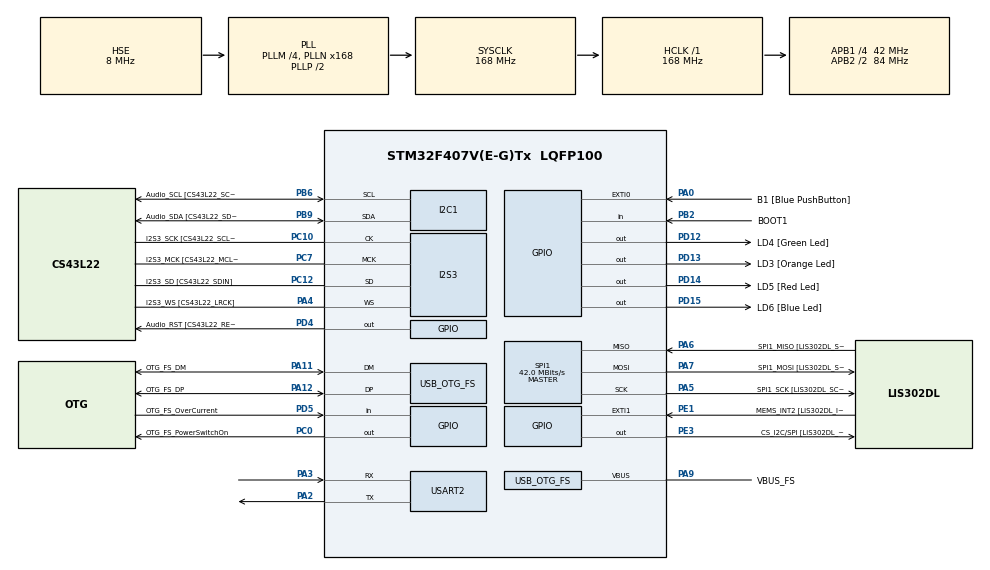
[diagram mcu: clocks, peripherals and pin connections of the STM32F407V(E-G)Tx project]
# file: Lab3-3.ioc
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I2S3.AudioFreq=I2S_AUDIOFREQ_96K
I2S3.AudioFreq-Half_Duplex_Master=I2S_AUDIOFREQ_96K
I2S3.ErrorAudioFreq=- %
I2S3.ErrorAudioFreq-Half_Duplex_Master=0.8 %
I2S3.FullDuplexMode=I2S_FULLDUPLEXMODE_DISABLE
I2S3.Instance=SPI$Index
I2S3.RealAudioFreq=- Hz
I2S3.RealAudioFreq-Half_Duplex_Master=96.774 KHz
I2S3.VirtualMode=I2S_MODE_MASTER
Mcu.Family=STM32F4
Mcu.Name=STM32F407V(E-G)Tx
Mcu.Package=LQFP100
NVIC.OTG_FS_IRQn=true\:0\:0\:false\:false\:true\:true\:true
NVIC.PriorityGroup=NVIC_PRIORITYGROUP_0
NVIC.TIM1_UP_TIM10_IRQn=true\:0\:0\:false\:false\:true\:true\:true
NVIC.TIM6_DAC_IRQn=true\:0\:0\:false\:false\:true\:true\:true
NVIC.TIM7_IRQn=true\:0\:0\:false\:false\:true\:true\:true
PA0-WKUP.GPIO_Label=B1 [Blue PushButton]
PA0-WKUP.GPIO_ModeDefaultEXTI=GPIO_MODE_EVT_RISING
PA0-WKUP.GPIO_PuPd=GPIO_NOPULL
PA0-WKUP.Signal=GPXTI0
PA10.GPIO_Label=OTG_FS_ID
PA10.GPIO_Mode=GPIO_MODE_AF_PP
PA10.GPIO_PuPd=GPIO_NOPULL
PA10.GPIO_Speed=GPIO_SPEED_FREQ_LOW
PA10.Signal=USB_OTG_FS_ID
PA11.GPIO_Label=OTG_FS_DM
PA11.GPIO_Mode=GPIO_MODE_AF_PP
PA11.GPIO_PuPd=GPIO_NOPULL
PA11.GPIO_Speed=GPIO_SPEED_FREQ_LOW
PA11.Mode=Host_Only
PA11.Signal=USB_OTG_FS_DM
PA12.GPIO_Label=OTG_FS_DP
PA12.GPIO_Mode=GPIO_MODE_AF_PP
PA12.GPIO_PuPd=GPIO_NOPULL
PA12.GPIO_Speed=GPIO_SPEED_FREQ_LOW
PA12.Mode=Host_Only
PA12.Signal=USB_OTG_FS_DP
PA13.GPIO_Label=SWDIO
PA13.Mode=Serial_Wire
PA13.Signal=SYS_JTMS-SWDIO
PA14.GPIO_Label=SWCLK
PA14.Mode=Serial_Wire
PA14.Signal=SYS_JTCK-SWCLK
PA2.Mode=Asynchronous
PA2.Signal=USART2_TX
PA3.Mode=Asynchronous
PA3.Signal=USART2_RX
PA4.GPIO_Label=I2S3_WS [CS43L22_LRCK]
PA4.GPIO_Mode=GPIO_MODE_AF_PP
PA4.GPIO_PuPd=GPIO_NOPULL
PA4.GPIO_Speed=GPIO_SPEED_FREQ_LOW
PA4.Mode=Half_Duplex_Master
PA4.Signal=I2S3_WS
PA5.GPIO_Label=SPI1_SCK [LIS302DL_SCL/SPC]
PA5.GPIO_Mode=GPIO_MODE_AF_PP
PA5.GPIO_PuPd=GPIO_NOPULL
PA5.GPIO_Speed=GPIO_SPEED_FREQ_LOW
PA5.Mode=Full_Duplex_Master
PA5.Signal=SPI1_SCK
PA6.GPIO_Label=SPI1_MISO [LIS302DL_SDO]
PA6.GPIO_Mode=GPIO_MODE_AF_PP
PA6.GPIO_PuPd=GPIO_NOPULL
PA6.GPIO_Speed=GPIO_SPEED_FREQ_LOW
PA6.Mode=Full_Duplex_Master
PA6.Signal=SPI1_MISO
PA7.GPIO_Label=SPI1_MOSI [LIS302DL_SDA/SDI/SDO]
PA7.GPIO_Mode=GPIO_MODE_AF_PP
PA7.GPIO_PuPd=GPIO_NOPULL
PA7.GPIO_Speed=GPIO_SPEED_FREQ_LOW
PA7.Mode=Full_Duplex_Master
PA7.Signal=SPI1_MOSI
PA9.GPIO_Label=VBUS_FS
PA9.GPIO_Mode=GPIO_MODE_INPUT
PA9.GPIO_PuPd=GPIO_NOPULL
PA9.Mode=Activate_VBUS
PA9.Signal=USB_OTG_FS_VBUS
PB10.GPIO_Label=CLK_IN [MP45DT02_CLK]
PB10.GPIO_Mode=GPIO_MODE_AF_PP
PB10.GPIO_PuPd=GPIO_NOPULL
PB10.GPIO_Speed=GPIO_SPEED_FREQ_LOW
PB10.Signal=I2S2_CK
PB2.GPIO_Label=BOOT1
PB2.GPIO_Mode=GPIO_MODE_INPUT
PB2.GPIO_PuPd=GPIO_NOPULL
PB2.Signal=GPIO_Input
PB3.GPIO_Label=SWO
PB3.Signal=SYS_JTDO-SWO
PB6.GPIO_Label=Audio_SCL [CS43L22_SCL]
PB6.GPIO_Mode=GPIO_MODE_AF_OD
PB6.GPIO_PuPd=GPIO_NOPULL
PB6.GPIO_Speed=GPIO_SPEED_FREQ_LOW
PB6.Mode=I2C
PB6.Signal=I2C1_SCL
PB9.GPIO_Label=Audio_SDA [CS43L22_SDA]
PB9.GPIO_Mode=GPIO_MODE_AF_OD
PB9.GPIO_PuPd=GPIO_NOPULL
PB9.GPIO_Speed=GPIO_SPEED_FREQ_LOW
PB9.Mode=I2C
PB9.Signal=I2C1_SDA
PC0.GPIO_Label=OTG_FS_PowerSwitchOn
PC0.GPIO_PuPd=GPIO_NOPULL
PC0.GPIO_Speed=GPIO_SPEED_FREQ_LOW
PC0.PinState=GPIO_PIN_SET
PC0.Signal=GPIO_Output
PC10.GPIO_Label=I2S3_SCK [CS43L22_SCLK]
PC10.GPIO_Mode=GPIO_MODE_AF_PP
PC10.GPIO_PuPd=GPIO_NOPULL
PC10.GPIO_Speed=GPIO_SPEED_FREQ_LOW
PC10.Mode=Half_Duplex_Master
PC10.Signal=I2S3_CK
PC12.GPIO_Label=I2S3_SD [CS43L22_SDIN]
PC12.GPIO_Mode=GPIO_MODE_AF_PP
PC12.GPIO_PuPd=GPIO_NOPULL
PC12.GPIO_Speed=GPIO_SPEED_FREQ_LOW
PC12.Mode=Half_Duplex_Master
PC12.Signal=I2S3_SD
PC14-OSC32_IN.GPIO_Label=PC14-OSC32_IN
PC14-OSC32_IN.Mode=LSE-External-Oscillator
PC14-OSC32_IN.Signal=RCC_OSC32_IN
PC15-OSC32_OUT.GPIO_Label=PC15-OSC32_OUT
PC15-OSC32_OUT.Mode=LSE-External-Oscillator
PC15-OSC32_OUT.Signal=RCC_OSC32_OUT
PC3.GPIO_Label=PDM_OUT [MP45DT02_DOUT]
PC3.GPIO_Mode=GPIO_MODE_AF_PP
PC3.GPIO_PuPd=GPIO_NOPULL
PC3.GPIO_Speed=GPIO_SPEED_FREQ_LOW
PC3.Signal=I2S2_SD
PC7.GPIO_Label=I2S3_MCK [CS43L22_MCLK]
PC7.GPIO_Mode=GPIO_MODE_AF_PP
PC7.GPIO_PuPd=GPIO_NOPULL
PC7.GPIO_Speed=GPIO_SPEED_FREQ_LOW
PC7.Mode=Master_Clock_Activated
PC7.Signal=I2S3_MCK
PD12.GPIO_Label=LD4 [Green Led]
PD12.GPIO_PuPd=GPIO_NOPULL
PD12.GPIO_Speed=GPIO_SPEED_FREQ_LOW
PD12.Signal=GPIO_Output
PD13.GPIO_Label=LD3 [Orange Led]
PD13.GPIO_PuPd=GPIO_NOPULL
PD13.GPIO_Speed=GPIO_SPEED_FREQ_LOW
PD13.Signal=GPIO_Output
PD14.GPIO_Label=LD5 [Red Led]
PD14.GPIO_PuPd=GPIO_NOPULL
PD14.GPIO_Speed=GPIO_SPEED_FREQ_LOW
PD14.Signal=GPIO_Output
PD15.GPIO_Label=LD6 [Blue Led]
PD15.GPIO_PuPd=GPIO_NOPULL
PD15.GPIO_Speed=GPIO_SPEED_FREQ_LOW
PD15.Signal=GPIO_Output
PD4.GPIO_Label=Audio_RST [CS43L22_RESET]
PD4.GPIO_PuPd=GPIO_NOPULL
PD4.GPIO_Speed=GPIO_SPEED_FREQ_LOW
PD4.Signal=GPIO_Output
PD5.GPIO_Label=OTG_FS_OverCurrent
PD5.GPIO_Mode=GPIO_MODE_INPUT
PD5.GPIO_PuPd=GPIO_NOPULL
PD5.Signal=GPIO_Input
PE1.GPIO_Label=MEMS_INT2 [LIS302DL_INT2]
PE1.GPIO_ModeDefaultEXTI=GPIO_MODE_EVT_RISING
PE1.GPIO_PuPd=GPIO_NOPULL
PE1.Signal=GPXTI1
PE3.GPIO_Label=CS_I2C/SPI [LIS302DL_CS_I2C/SPI]
PE3.GPIO_PuPd=GPIO_NOPULL
PE3.GPIO_Speed=GPIO_SPEED_FREQ_LOW
PE3.Signal=GPIO_Output
PH0-OSC_IN.GPIO_Label=PH0-OSC_IN
PH0-OSC_IN.Mode=HSE-External-Oscillator
PH0-OSC_IN.Signal=RCC_OSC_IN
PH1-OSC_OUT.GPIO_Label=PH1-OSC_OUT
PH1-OSC_OUT.Mode=HSE-External-Oscillator
PH1-OSC_OUT.Signal=RCC_OSC_OUT
ProjectManager.HeapSize=0x200
ProjectManager.StackSize=0x400
ProjectManager.TargetToolchain=STM32CubeIDE
RCC.48MHZClocksFreq_Value=48000000
RCC.AHBFreq_Value=168000000
RCC.APB1CLKDivider=RCC_HCLK_DIV4
RCC.APB1Freq_Value=42000000
RCC.APB1TimFreq_Value=84000000
RCC.APB2CLKDivider=RCC_HCLK_DIV2
RCC.APB2Freq_Value=84000000
RCC.APB2TimFreq_Value=168000000
RCC.CortexFreq_Value=168000000
RCC.HCLKFreq_Value=168000000
RCC.HSE_VALUE=8000000
RCC.HSI_VALUE=16000000
RCC.PLLI2SN=50
RCC.PLLM=4
RCC.PLLN=168
RCC.PLLQ=7
RCC.SYSCLKFreq_VALUE=168000000
RCC.SYSCLKSource=RCC_SYSCLKSOURCE_PLLCLK
RCC.VCOOutputFreq_Value=336000000
SPI1.BaudRatePrescaler-Full_Duplex_Master=SPI_BAUDRATEPRESCALER_2
SPI1.CalculateBaudRate=42.0 MBits/s
SPI1.CalculateBaudRate-Full_Duplex_Master=42.0 MBits/s
SPI1.Direction=SPI_DIRECTION_2LINES
SPI1.Mode=SPI_MODE_MASTER
SPI1.Mode-Full_Duplex_Master=SPI_MODE_MASTER
SPI1.VirtualType=VM_MASTER
TIM10.AutoReloadPreload=TIM_AUTORELOAD_PRELOAD_ENABLE
TIM10.Period=41995
TIM10.Prescaler=3999
TIM6.AutoReloadPreload=TIM_AUTORELOAD_PRELOAD_ENABLE
TIM6.Period=20999
TIM6.Prescaler=3999
TIM7.AutoReloadPreload=TIM_AUTORELOAD_PRELOAD_ENABLE
TIM7.Period=20608
TIM7.Prescaler=3999
USART2.VirtualMode=VM_ASYNC
USB_HOST.BSP.number=1
USB_HOST.USBH_HandleTypeDef-CDC_FS=hUsbHostFS
USB_HOST.VirtualModeFS=Cdc
USB_HOST0.BSP.STBoard=false
USB_HOST0.BSP.api=Unknown
USB_HOST0.BSP.i2caddr=0
USB_HOST0.BSP.i2creg=0
USB_HOST0.BSP.instance=PC0
USB_HOST0.BSP.ip=GPIO
USB_HOST0.BSP.mode=Output
USB_HOST0.BSP.name=Drive_VBUS_FS
USB_HOST0.BSP.solution=PC0
USB_OTG_FS.VirtualMode=Host_Only
USB_OTG_FS.phy_itface=HCD_PHY_EMBEDDED
VP_TIM10_VS_ClockSourceINT.Mode=Enable_Timer
VP_TIM6_VS_ClockSourceINT.Mode=Enable_Timer
VP_TIM7_VS_ClockSourceINT.Mode=Enable_Timer
VP_USB_HOST_VS_USB_HOST_CDC_FS.Mode=CDC_FS
board=STM32F4DISCOVERY

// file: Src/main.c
/* USER CODE BEGIN Header */
/**
  ******************************************************************************
  * @file           : main.c
  * @brief          : Main program body
  ******************************************************************************
  * @attention
  *
  * <h2><center>&copy; Copyright (c) 2019 STMicroelectronics.
  * All rights reserved.</center></h2>
  *
  * This software component is licensed by ST under Ultimate Liberty license
  * SLA0044, the "License"; You may not use this file except in compliance with
  * the License. You may obtain a copy of the License at:
  *                             www.st.com/SLA0044
  *
  ******************************************************************************
  */
/* USER CODE END Header */

#include "main.h"
#include "usb_host.h"

I2C_HandleTypeDef hi2c1;

I2S_HandleTypeDef hi2s3;

SPI_HandleTypeDef hspi1;

TIM_HandleTypeDef htim6;
TIM_HandleTypeDef htim7;
TIM_HandleTypeDef htim10;

UART_HandleTypeDef huart2;

void SystemClock_Config(void);
static void MX_GPIO_Init(void);
static void MX_I2C1_Init(void);
static void MX_I2S3_Init(void);
static void MX_SPI1_Init(void);
static void MX_TIM6_Init(void);
static void MX_TIM7_Init(void);
static void MX_TIM10_Init(void);
static void MX_USART2_UART_Init(void);
void MX_USB_HOST_Process(void);

/* USER CODE BEGIN 0 */
int c1 = 0;
int c2=0;

void HAL_TIM_PeriodElapsedCallback(TIM_HandleTypeDef *htim)
{
  /* Prevent unused argument(s) compilation warning */
  //UNUSED(htim);

  /* NOTE : This function should not be modified, when the callback is needed,
            the HAL_TIM_PeriodElapsedCallback could be implemented in the user file
   */
	char buffer[1];
	char tmp[200];
	buffer[0] = 'x';

  if (htim == &htim6){
	  //HAL_UART_Transmit(&huart2, buffer, sizeof(buffer), HAL_MAX_DELAY);
	  c1++;
	  HAL_GPIO_TogglePin(GPIOD, GPIO_PIN_14);
  }
  if (htim == &htim7){
	  c2++;
	  HAL_GPIO_TogglePin(GPIOD, GPIO_PIN_12);
  }
  if (htim == &htim10){
	  sprintf(tmp, "%d %d\r\n", c1, c2);
	  HAL_UART_Transmit(&huart2, tmp, strlen(tmp), HAL_MAX_DELAY);
  }
}
/* USER CODE END 0 */

int main(void)
{

  /* MCU Configuration--------------------------------------------------------*/

  /* Reset of all peripherals, Initializes the Flash interface and the Systick. */
  HAL_Init();

  /* Configure the system clock */
  SystemClock_Config();

  /* Initialize all configured peripherals */
  MX_GPIO_Init();
  MX_I2C1_Init();
  MX_I2S3_Init();
  MX_SPI1_Init();
  MX_USB_HOST_Init();
  MX_TIM6_Init();
  MX_TIM7_Init();
  MX_TIM10_Init();
  MX_USART2_UART_Init();
  /* USER CODE BEGIN 2 */
  HAL_TIM_Base_Start_IT(&htim6);
    HAL_TIM_Base_Start_IT(&htim7);
    HAL_TIM_Base_Start_IT(&htim10);
  /* USER CODE END 2 */

  /* Infinite loop */
  while (1)
  {
    MX_USB_HOST_Process();

  }
}

void SystemClock_Config(void)
{
  RCC_OscInitTypeDef RCC_OscInitStruct = {0};
  RCC_ClkInitTypeDef RCC_ClkInitStruct = {0};
  RCC_PeriphCLKInitTypeDef PeriphClkInitStruct = {0};

  /** Configure the main internal regulator output voltage
  */
  __HAL_RCC_PWR_CLK_ENABLE();
  __HAL_PWR_VOLTAGESCALING_CONFIG(PWR_REGULATOR_VOLTAGE_SCALE1);
  /** Initializes the CPU, AHB and APB busses clocks
  */
  RCC_OscInitStruct.OscillatorType = RCC_OSCILLATORTYPE_HSE;
  RCC_OscInitStruct.HSEState = RCC_HSE_ON;
  RCC_OscInitStruct.PLL.PLLState = RCC_PLL_ON;
  RCC_OscInitStruct.PLL.PLLSource = RCC_PLLSOURCE_HSE;
  RCC_OscInitStruct.PLL.PLLM = 4;
  RCC_OscInitStruct.PLL.PLLN = 168;
  RCC_OscInitStruct.PLL.PLLP = RCC_PLLP_DIV2;
  RCC_OscInitStruct.PLL.PLLQ = 7;
  if (HAL_RCC_OscConfig(&RCC_OscInitStruct) != HAL_OK)
  {
    Error_Handler();
  }
  /** Initializes the CPU, AHB and APB busses clocks
  */
  RCC_ClkInitStruct.ClockType = RCC_CLOCKTYPE_HCLK|RCC_CLOCKTYPE_SYSCLK
                              |RCC_CLOCKTYPE_PCLK1|RCC_CLOCKTYPE_PCLK2;
  RCC_ClkInitStruct.SYSCLKSource = RCC_SYSCLKSOURCE_PLLCLK;
  RCC_ClkInitStruct.AHBCLKDivider = RCC_SYSCLK_DIV1;
  RCC_ClkInitStruct.APB1CLKDivider = RCC_HCLK_DIV4;
  RCC_ClkInitStruct.APB2CLKDivider = RCC_HCLK_DIV2;

  if (HAL_RCC_ClockConfig(&RCC_ClkInitStruct, FLASH_LATENCY_5) != HAL_OK)
  {
    Error_Handler();
  }
  PeriphClkInitStruct.PeriphClockSelection = RCC_PERIPHCLK_I2S;
  PeriphClkInitStruct.PLLI2S.PLLI2SN = 50;
  PeriphClkInitStruct.PLLI2S.PLLI2SR = 2;
  if (HAL_RCCEx_PeriphCLKConfig(&PeriphClkInitStruct) != HAL_OK)
  {
    Error_Handler();
  }
}

static void MX_I2C1_Init(void)
{

  hi2c1.Instance = I2C1;
  hi2c1.Init.ClockSpeed = 100000;
  hi2c1.Init.DutyCycle = I2C_DUTYCYCLE_2;
  hi2c1.Init.OwnAddress1 = 0;
  hi2c1.Init.AddressingMode = I2C_ADDRESSINGMODE_7BIT;
  hi2c1.Init.DualAddressMode = I2C_DUALADDRESS_DISABLE;
  hi2c1.Init.OwnAddress2 = 0;
  hi2c1.Init.GeneralCallMode = I2C_GENERALCALL_DISABLE;
  hi2c1.Init.NoStretchMode = I2C_NOSTRETCH_DISABLE;
  if (HAL_I2C_Init(&hi2c1) != HAL_OK)
  {
    Error_Handler();
  }

}

static void MX_I2S3_Init(void)
{

  hi2s3.Instance = SPI3;
  hi2s3.Init.Mode = I2S_MODE_MASTER_TX;
  hi2s3.Init.Standard = I2S_STANDARD_PHILIPS;
  hi2s3.Init.DataFormat = I2S_DATAFORMAT_16B;
  hi2s3.Init.MCLKOutput = I2S_MCLKOUTPUT_ENABLE;
  hi2s3.Init.AudioFreq = I2S_AUDIOFREQ_96K;
  hi2s3.Init.CPOL = I2S_CPOL_LOW;
  hi2s3.Init.ClockSource = I2S_CLOCK_PLL;
  hi2s3.Init.FullDuplexMode = I2S_FULLDUPLEXMODE_DISABLE;
  if (HAL_I2S_Init(&hi2s3) != HAL_OK)
  {
    Error_Handler();
  }

}

static void MX_SPI1_Init(void)
{

  /* SPI1 parameter configuration*/
  hspi1.Instance = SPI1;
  hspi1.Init.Mode = SPI_MODE_MASTER;
  hspi1.Init.Direction = SPI_DIRECTION_2LINES;
  hspi1.Init.DataSize = SPI_DATASIZE_8BIT;
  hspi1.Init.CLKPolarity = SPI_POLARITY_LOW;
  hspi1.Init.CLKPhase = SPI_PHASE_1EDGE;
  hspi1.Init.NSS = SPI_NSS_SOFT;
  hspi1.Init.BaudRatePrescaler = SPI_BAUDRATEPRESCALER_2;
  hspi1.Init.FirstBit = SPI_FIRSTBIT_MSB;
  hspi1.Init.TIMode = SPI_TIMODE_DISABLE;
  hspi1.Init.CRCCalculation = SPI_CRCCALCULATION_DISABLE;
  hspi1.Init.CRCPolynomial = 10;
  if (HAL_SPI_Init(&hspi1) != HAL_OK)
  {
    Error_Handler();
  }

}

static void MX_TIM6_Init(void)
{

  TIM_MasterConfigTypeDef sMasterConfig = {0};

  htim6.Instance = TIM6;
  htim6.Init.Prescaler = 3999;
  htim6.Init.CounterMode = TIM_COUNTERMODE_UP;
  htim6.Init.Period = 20999;
  htim6.Init.AutoReloadPreload = TIM_AUTORELOAD_PRELOAD_ENABLE;
  if (HAL_TIM_Base_Init(&htim6) != HAL_OK)
  {
    Error_Handler();
  }
  sMasterConfig.MasterOutputTrigger = TIM_TRGO_RESET;
  sMasterConfig.MasterSlaveMode = TIM_MASTERSLAVEMODE_DISABLE;
  if (HAL_TIMEx_MasterConfigSynchronization(&htim6, &sMasterConfig) != HAL_OK)
  {
    Error_Handler();
  }

}

static void MX_TIM7_Init(void)
{

  TIM_MasterConfigTypeDef sMasterConfig = {0};

  htim7.Instance = TIM7;
  htim7.Init.Prescaler = 3999;
  htim7.Init.CounterMode = TIM_COUNTERMODE_UP;
  htim7.Init.Period = 20608;
  htim7.Init.AutoReloadPreload = TIM_AUTORELOAD_PRELOAD_ENABLE;
  if (HAL_TIM_Base_Init(&htim7) != HAL_OK)
  {
    Error_Handler();
  }
  sMasterConfig.MasterOutputTrigger = TIM_TRGO_RESET;
  sMasterConfig.MasterSlaveMode = TIM_MASTERSLAVEMODE_DISABLE;
  if (HAL_TIMEx_MasterConfigSynchronization(&htim7, &sMasterConfig) != HAL_OK)
  {
    Error_Handler();
  }

}

static void MX_TIM10_Init(void)
{

  htim10.Instance = TIM10;
  htim10.Init.Prescaler = 3999;
  htim10.Init.CounterMode = TIM_COUNTERMODE_UP;
  htim10.Init.Period = 41995;
  htim10.Init.ClockDivision = TIM_CLOCKDIVISION_DIV1;
  htim10.Init.AutoReloadPreload = TIM_AUTORELOAD_PRELOAD_ENABLE;
  if (HAL_TIM_Base_Init(&htim10) != HAL_OK)
  {
    Error_Handler();
  }

}

static void MX_USART2_UART_Init(void)
{

  huart2.Instance = USART2;
  huart2.Init.BaudRate = 115200;
  huart2.Init.WordLength = UART_WORDLENGTH_8B;
  huart2.Init.StopBits = UART_STOPBITS_1;
  huart2.Init.Parity = UART_PARITY_NONE;
  huart2.Init.Mode = UART_MODE_TX_RX;
  huart2.Init.HwFlowCtl = UART_HWCONTROL_NONE;
  huart2.Init.OverSampling = UART_OVERSAMPLING_16;
  if (HAL_UART_Init(&huart2) != HAL_OK)
  {
    Error_Handler();
  }

}

static void MX_GPIO_Init(void)
{
  GPIO_InitTypeDef GPIO_InitStruct = {0};

  /* GPIO Ports Clock Enable */
  __HAL_RCC_GPIOE_CLK_ENABLE();
  __HAL_RCC_GPIOC_CLK_ENABLE();
  __HAL_RCC_GPIOH_CLK_ENABLE();
  __HAL_RCC_GPIOA_CLK_ENABLE();
  __HAL_RCC_GPIOB_CLK_ENABLE();
  __HAL_RCC_GPIOD_CLK_ENABLE();

  /*Configure GPIO pin Output Level */
  HAL_GPIO_WritePin(CS_I2C_SPI_GPIO_Port, CS_I2C_SPI_Pin, GPIO_PIN_RESET);

  /*Configure GPIO pin Output Level */
  HAL_GPIO_WritePin(OTG_FS_PowerSwitchOn_GPIO_Port, OTG_FS_PowerSwitchOn_Pin, GPIO_PIN_SET);

  /*Configure GPIO pin Output Level */
  HAL_GPIO_WritePin(GPIOD, LD4_Pin|LD3_Pin|LD5_Pin|LD6_Pin
                          |Audio_RST_Pin, GPIO_PIN_RESET);

  /*Configure GPIO pin : CS_I2C_SPI_Pin */
  GPIO_InitStruct.Pin = CS_I2C_SPI_Pin;
  GPIO_InitStruct.Mode = GPIO_MODE_OUTPUT_PP;
  GPIO_InitStruct.Pull = GPIO_NOPULL;
  GPIO_InitStruct.Speed = GPIO_SPEED_FREQ_LOW;
  HAL_GPIO_Init(CS_I2C_SPI_GPIO_Port, &GPIO_InitStruct);

  /*Configure GPIO pin : OTG_FS_PowerSwitchOn_Pin */
  GPIO_InitStruct.Pin = OTG_FS_PowerSwitchOn_Pin;
  GPIO_InitStruct.Mode = GPIO_MODE_OUTPUT_PP;
  GPIO_InitStruct.Pull = GPIO_NOPULL;
  GPIO_InitStruct.Speed = GPIO_SPEED_FREQ_LOW;
  HAL_GPIO_Init(OTG_FS_PowerSwitchOn_GPIO_Port, &GPIO_InitStruct);

  /*Configure GPIO pin : PDM_OUT_Pin */
  GPIO_InitStruct.Pin = PDM_OUT_Pin;
  GPIO_InitStruct.Mode = GPIO_MODE_AF_PP;
  GPIO_InitStruct.Pull = GPIO_NOPULL;
  GPIO_InitStruct.Speed = GPIO_SPEED_FREQ_LOW;
  GPIO_InitStruct.Alternate = GPIO_AF5_SPI2;
  HAL_GPIO_Init(PDM_OUT_GPIO_Port, &GPIO_InitStruct);

  /*Configure GPIO pin : B1_Pin */
  GPIO_InitStruct.Pin = B1_Pin;
  GPIO_InitStruct.Mode = GPIO_MODE_EVT_RISING;
  GPIO_InitStruct.Pull = GPIO_NOPULL;
  HAL_GPIO_Init(B1_GPIO_Port, &GPIO_InitStruct);

  /*Configure GPIO pin : BOOT1_Pin */
  GPIO_InitStruct.Pin = BOOT1_Pin;
  GPIO_InitStruct.Mode = GPIO_MODE_INPUT;
  GPIO_InitStruct.Pull = GPIO_NOPULL;
  HAL_GPIO_Init(BOOT1_GPIO_Port, &GPIO_InitStruct);

  /*Configure GPIO pin : CLK_IN_Pin */
  GPIO_InitStruct.Pin = CLK_IN_Pin;
  GPIO_InitStruct.Mode = GPIO_MODE_AF_PP;
  GPIO_InitStruct.Pull = GPIO_NOPULL;
  GPIO_InitStruct.Speed = GPIO_SPEED_FREQ_LOW;
  GPIO_InitStruct.Alternate = GPIO_AF5_SPI2;
  HAL_GPIO_Init(CLK_IN_GPIO_Port, &GPIO_InitStruct);

  /*Configure GPIO pins : LD4_Pin LD3_Pin LD5_Pin LD6_Pin
                           Audio_RST_Pin */
  GPIO_InitStruct.Pin = LD4_Pin|LD3_Pin|LD5_Pin|LD6_Pin
                          |Audio_RST_Pin;
  GPIO_InitStruct.Mode = GPIO_MODE_OUTPUT_PP;
  GPIO_InitStruct.Pull = GPIO_NOPULL;
  GPIO_InitStruct.Speed = GPIO_SPEED_FREQ_LOW;
  HAL_GPIO_Init(GPIOD, &GPIO_InitStruct);

  /*Configure GPIO pin : OTG_FS_OverCurrent_Pin */
  GPIO_InitStruct.Pin = OTG_FS_OverCurrent_Pin;
  GPIO_InitStruct.Mode = GPIO_MODE_INPUT;
  GPIO_InitStruct.Pull = GPIO_NOPULL;
  HAL_GPIO_Init(OTG_FS_OverCurrent_GPIO_Port, &GPIO_InitStruct);

  /*Configure GPIO pin : MEMS_INT2_Pin */
  GPIO_InitStruct.Pin = MEMS_INT2_Pin;
  GPIO_InitStruct.Mode = GPIO_MODE_EVT_RISING;
  GPIO_InitStruct.Pull = GPIO_NOPULL;
  HAL_GPIO_Init(MEMS_INT2_GPIO_Port, &GPIO_InitStruct);

}

void Error_Handler(void)
{
}

/************************ (C) COPYRIGHT STMicroelectronics *****END OF FILE****/
